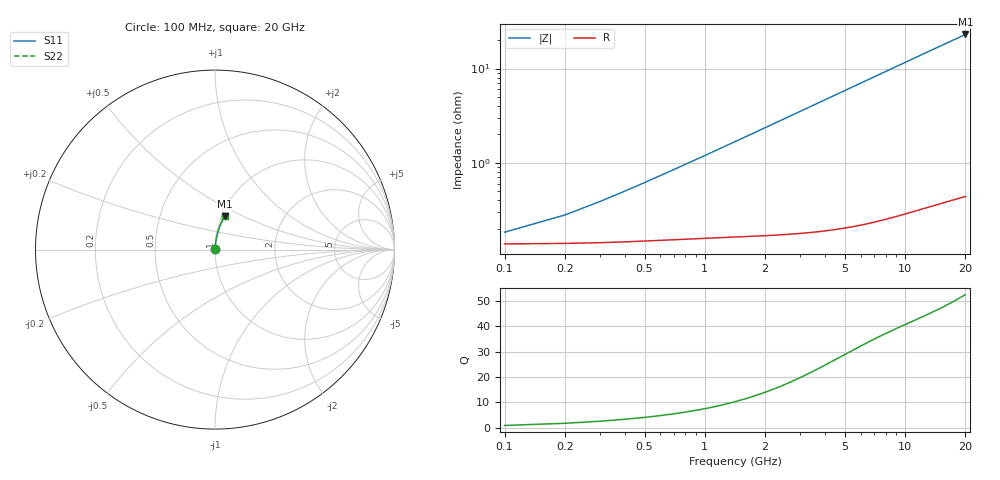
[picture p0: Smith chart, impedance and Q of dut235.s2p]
! Touchstone file exported from HFSS 2026.1.0
!  File:  C:/ffzhzh/LocalFiles/Ansys_Project_Files/temp_train_BSMRDL_235_1782988308_6248.aedt
!  Generated:  06:33:05 PM Jul  2, 2026
!  Design:  BSMRDL
!  Project:  temp_train_BSMRDL_235_1782988308_6248
! Variables:
!  h_bsmrdl = 2.98um
!  h_ox = 20um
!  h_rdl = 5um
!  h_sub = 80um
!  h_tmrdl = 5um
!  h_tsv = 80um
!  h_via = 3um
!  l_bsmrdl = 138.87um
!  l_sub = 538.87um
!  l_tmrdl = 200um
!  m_sub = 200um
!  pitch = 52.45um
!  r_tsv = 6um
!  s_tmrdl = 10um
!  w_bsmrdl = 14.25um
!  w_sub = 500um
!  w_tmrdl = 12um
!  x_tsv_center1 = 206um
!  x_tsv_center2 = 359.12um
!  x_tsv_center3 = 571.12um
!  x_tsv_center4 = 724.24um
!  x_tsv_center5 = 936.24um
!  x_tsv_center6 = 1089.36um
# GHz S MA R 50.000000
! Terminal data exported
! Port[1] = BSM_RDL1_1_T1
! Port[2] = BSM_RDL1_1_T2
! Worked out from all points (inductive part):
!   200 points, 100 MHz to 20 GHz, reference 50 ohm
!   read as one part in series: L = 190 pH near 400 MHz
!   highest Q = 52.4 at 20 GHz (marker M1), where L = 183 pH
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0.1  0.001727 37.1  0.9986 -0.1  0.9986 -0.1  0.001727 37.1
! Gamma 0 0 0 0
! Port Impedance 50 0 50 0
0.2  0.002507 56.1  0.9986 -0.2  0.9986 -0.2  0.002507 56.1
0.3  0.003423 65.3  0.9986 -0.2  0.9986 -0.2  0.003423 65.3
0.4  0.004382 70.4  0.9985 -0.3  0.9985 -0.3  0.004382 70.4
0.5  0.005357 73.6  0.9985 -0.4  0.9985 -0.4  0.005357 73.6
0.6  0.006337 75.8  0.9985 -0.5  0.9985 -0.5  0.006337 75.8
0.8  0.008306 78.7  0.9984 -0.6  0.9984 -0.6  0.008306 78.7
1.1  0.01127 81.0  0.9983 -0.8  0.9983 -0.8  0.01127 81.0
1.5  0.01524 82.7  0.9982 -1.2  0.9982 -1.2  0.01524 82.7
1.8  0.01822 83.4  0.9982 -1.4  0.9982 -1.4  0.01822 83.4
2.1  0.0212 83.8  0.9981 -1.6  0.9981 -1.6  0.0212 83.8
2.7  0.02718 84.2  0.9979 -2.1  0.9979 -2.1  0.02718 84.2
3.5  0.03515 84.3  0.9976 -2.7  0.9976 -2.7  0.03515 84.3
4.2  0.0421 84.2  0.9972 -3.2  0.9972 -3.2  0.0421 84.2
5  0.05004 83.9  0.9967 -3.8  0.9967 -3.8  0.05004 83.9
5.9  0.05893 83.4  0.9961 -4.5  0.9961 -4.5  0.05893 83.4
6.8  0.06778 82.9  0.9954 -5.2  0.9954 -5.2  0.06778 82.9
8.3  0.08244 81.9  0.994 -6.3  0.994 -6.3  0.08244 81.9
10.1  0.09987 80.7  0.9921 -7.7  0.9921 -7.7  0.09987 80.7
13.4  0.1313 78.4  0.9879 -10.1  0.9879 -10.1  0.1313 78.4
16.7  0.1621 76.1  0.9829 -12.5  0.9829 -12.5  0.1621 76.1
20  0.1922 73.8  0.9771 -14.9  0.9771 -14.9  0.1922 73.8
